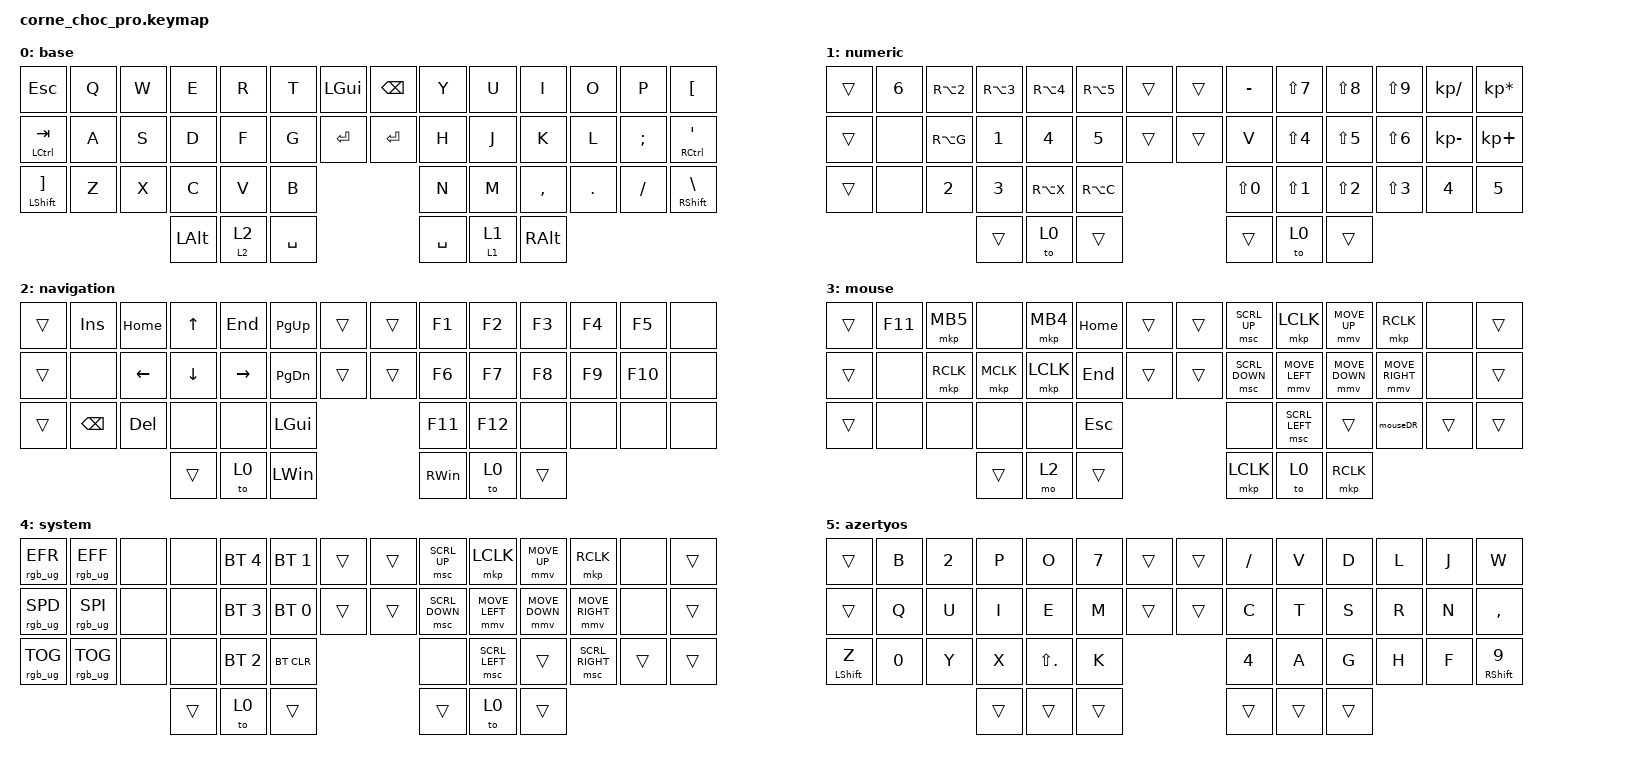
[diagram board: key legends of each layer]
/*
 * Copyright (c) 2020 The ZMK Contributors
 *
 * SPDX-License-Identifier: MIT
 */

#include <behaviors.dtsi>
#include <dt-bindings/zmk/bt.h>
#include <dt-bindings/zmk/keys.h>
#include <dt-bindings/zmk/pointing.h>
#include <dt-bindings/zmk/rgb.h>

&mt {
    flavor = "tap-preferred";
    tapping-term-ms = <300>;
};

/ {
    chosen { zmk,physical-layout = &default_layout; };
};

/ {
    behaviors {
        quicklayer: quicklayer {
            compatible = "zmk,behavior-hold-tap";
            label = "QUICKLAYER";
            bindings = <&mo>, <&to>;

            #binding-cells = <2>;
            tapping-term-ms = <200>;
        };
    };

    combos {
        compatible = "zmk,combos";

        go-to-system {
            bindings = <&to 4>;
            key-positions = <28 39>;
        };

        reset {
            bindings = <&sys_reset>;
            key-positions = <0 13>;
        };

        go_home {
            bindings = <&to 0>;
            key-positions = <41 32>;
        };

        bt-0 {
            bindings = <&bt BT_SEL 0>;
            key-positions = <33 32>;
        };

        bt-1 {
            bindings = <&bt BT_SEL 1>;
            key-positions = <19 18>;
        };

        bt-2 {
            bindings = <&bt BT_SEL 2>;
            key-positions = <5 4>;
        };

        bt-clear {
            bindings = <&bt BT_CLR>;
            key-positions = <28 29>;
        };

        layer-mouse {
            bindings = <&tog 3>;
            key-positions = <23 25>;
        };
    };

    macros {
        mouseDR: mouseNW {
            compatible = "zmk,behavior-macro";
            #binding-cells = <0>;
            bindings =
                <&macro_press>,
                <&mmv MOVE_DOWN &mmv MOVE_RIGHT>,
                <&macro_release>,
                <&mmv MOVE_DOWN &mmv MOVE_RIGHT>;

            label = "MOUSENW";
        };
    };

    keymap {
        compatible = "zmk,keymap";

        base {
            display-name = "base";

            // --------------------------------------------------------------------------------
            // |  TAB |  Q  |  W  |  E  |  R  |  T  |  MUTE |  PP   |  Y  |  U   |  I  |  O  |  P  | BSPC |
            // | CTRL |  A  |  S  |  D  |  F  |  G  |  LALT |  RALT |  H  |  J   |  K  |  L  |  ;  |  '   |
            // | SHFT |  Z  |  X  |  C  |  V  |  B  |               |  N  |  M   |  ,  |  .  |  /  | ESC  |
            //                    | GUI | LWR | SPC |               | ENT | RSE  | ALT |

            bindings = <
&kp ESCAPE            &kp Q  &kp W  &kp E         &kp R            &kp T      &kp LGUI   &kp BACKSPACE  &kp Y      &kp U            &kp I          &kp O    &kp P     &kp LBKT
&mt LEFT_CONTROL TAB  &kp A  &kp S  &kp D         &kp F            &kp G      &kp ENTER  &kp ENTER      &kp H      &kp J            &kp K          &kp L    &kp SEMI  &mt RCTRL SINGLE_QUOTE
&mt LEFT_SHIFT RBKT   &kp Z  &kp X  &kp C         &kp V            &kp B                                &kp N      &kp M            &kp COMMA      &kp DOT  &kp FSLH  &mt RIGHT_SHIFT BACKSLASH
                                    &kp LEFT_ALT  &quicklayer 2 2  &kp SPACE                            &kp SPACE  &quicklayer 1 1  &kp RIGHT_ALT
            >;
        };

        numeric {
            display-name = "numeric";

            // -----------------------------------------------------------------------------------------
            // |  TAB |  1  |  2  |  3  |  4  |  5    |  LCTRL | RCTRL |  6  |  7  |  8  |  9  |  0  | BSPC |
            // | CTRL | BT1 | BT2 | BT3 | BT4 | BT5   |  LALT  | RALT  | LFT | DWN |  UP | RGT |     |      |
            // | SHFT | BTCR| RGB | RST | BOOT| Unlock|        |       |     |     |     |     |     |      |
            //                    | GUI |     | SPC   |        | ENT   |     | ALT |

            bindings = <
&trans  &kp NUMBER_6  &kp RA(NUMBER_2)  &kp RA(NUMBER_3)  &kp RA(NUMBER_4)  &kp RA(NUMBER_5)  &trans  &trans  &kp MINUS         &kp LS(NUMBER_7)  &kp LS(NUMBER_8)  &kp LS(NUMBER_9)  &kp KP_DIVIDE    &kp KP_MULTIPLY
&trans  &none         &kp RA(G)         &kp NUMBER_1      &kp NUMBER_4      &kp NUMBER_5      &trans  &trans  &kp V             &kp LS(NUMBER_4)  &kp LS(NUMBER_5)  &kp LS(NUMBER_6)  &kp KP_SUBTRACT  &kp KP_PLUS
&trans  &none         &kp NUMBER_2      &kp NUMBER_3      &kp RA(X)         &kp RA(C)                         &kp LS(NUMBER_0)  &kp LS(NUMBER_1)  &kp LS(NUMBER_2)  &kp LS(NUMBER_3)  &kp N4           &kp N5
                                        &trans            &to 0             &trans                            &trans            &to 0             &trans
            >;
        };

        navigation {
            display-name = "navigation";

            // -----------------------------------------------------------------------------------------
            // |  TAB |  !  |  @  |  #  |  $  |  %  | LCTRL | RCTRL |  ^  |  &  |  *  |  (  |  )  | BSPC |
            // | CTRL |     |     |     |     |     |  LALT | RALT  |  -  |  =  |  [  |  ]  |  \  |  `   |
            // | SHFT |     |     |     |     |     |               |  _  |  +  |  {  |  }  | "|" |  ~   |
            //                    | GUI |     | SPC |               | ENT |     | ALT |

            bindings = <
&trans  &kp INS        &kp HOME    &kp UP    &kp END    &kp PG_UP     &trans  &trans  &kp F1         &kp F2   &kp F3  &kp F4  &kp F5   &none
&trans  &none          &kp LEFT    &kp DOWN  &kp RIGHT  &kp PG_DN     &trans  &trans  &kp F6         &kp F7   &kp F8  &kp F9  &kp F10  &none
&trans  &kp BACKSPACE  &kp DELETE  &none     &none      &kp LGUI                      &kp F11        &kp F12  &none   &none   &none    &none
                                   &trans    &to 0      &kp LEFT_WIN                  &kp RIGHT_WIN  &to 0    &trans
            >;
        };

        mouse {
            display-name = "mouse";
            bindings = <
&trans  &kp F11  &mkp MB5   &none      &mkp MB4   &kp HOME  &trans  &trans  &msc SCRL_UP    &mkp LCLK       &mmv MOVE_UP    &mkp RCLK        &none   &trans
&trans  &none    &mkp RCLK  &mkp MCLK  &mkp LCLK  &kp END   &trans  &trans  &msc SCRL_DOWN  &mmv MOVE_LEFT  &mmv MOVE_DOWN  &mmv MOVE_RIGHT  &none   &trans
&trans  &none    &none      &none      &none      &kp ESC                   &none           &msc SCRL_LEFT  &trans          &mouseDR         &trans  &trans
                            &trans     &mo 2      &trans                    &mkp LCLK       &to 0           &mkp RCLK
            >;
        };

        system {
            display-name = "system";
            bindings = <
&rgb_ug RGB_EFR  &rgb_ug RGB_EFF  &none  &none   &bt BT_SEL 4  &bt BT_SEL 1  &trans  &trans  &msc SCRL_UP    &mkp LCLK       &mmv MOVE_UP    &mkp RCLK        &none   &trans
&rgb_ug RGB_SPD  &rgb_ug RGB_SPI  &none  &none   &bt BT_SEL 3  &bt BT_SEL 0  &trans  &trans  &msc SCRL_DOWN  &mmv MOVE_LEFT  &mmv MOVE_DOWN  &mmv MOVE_RIGHT  &none   &trans
&rgb_ug RGB_TOG  &rgb_ug RGB_TOG  &none  &none   &bt BT_SEL 2  &bt BT_CLR                    &none           &msc SCRL_LEFT  &trans          &msc SCRL_RIGHT  &trans  &trans
                                         &trans  &to 0         &trans                        &trans          &to 0           &trans
            >;
        };

        azertyos {
            bindings = <
&trans        &kp B   &kp N2  &kp P   &kp O        &kp N7  &trans  &trans  &kp FSLH  &kp V   &kp D   &kp L  &kp J  &kp W
&trans        &kp Q   &kp U   &kp I   &kp E        &kp M   &trans  &trans  &kp C     &kp T   &kp S   &kp R  &kp N  &kp COMMA
&mt LSHIFT Z  &kp N0  &kp Y   &kp X   &kp LS(DOT)  &kp K                   &kp N4    &kp A   &kp G   &kp H  &kp F  &mt RIGHT_SHIFT NUMBER_9
                              &trans  &trans       &trans                  &trans    &trans  &trans
            >;
        };
    };
};
